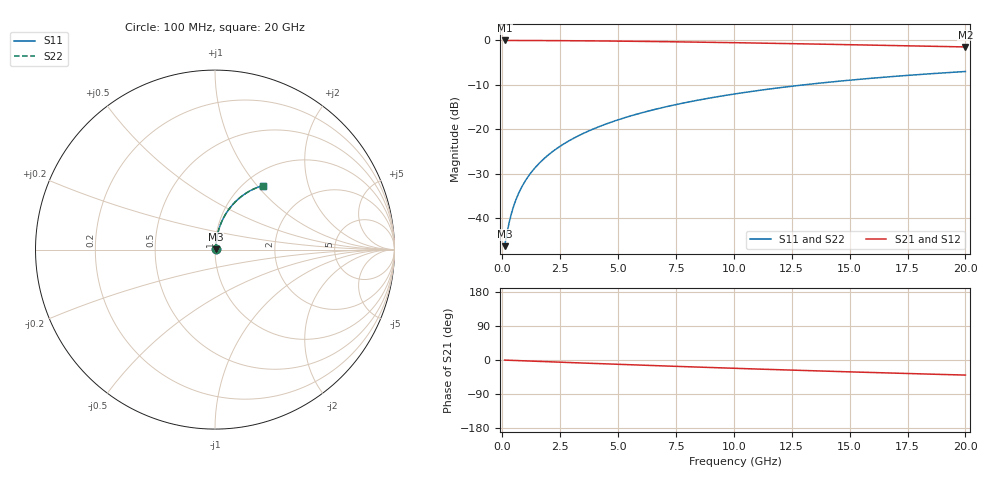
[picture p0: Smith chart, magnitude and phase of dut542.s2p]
! Touchstone file exported from HFSS 2024.1.0
!  File:  C:/UserFiles/LocalFiles/RDL_TSV_Batchsim/temp_RDL_top_542_1779680569.aedt
!  Generated:  11:45:13 AM May 25, 2026
!  Design:  RDL_top
!  Project:  temp_RDL_top_542_1779680569
!  Setup:  Setup1
!  Solution:  Sweep
! Variables:
!  dtsv = 10.80580581um
!  hbump = 3um
!  htsv = 90.43um
!  ldown = 100um
!  lrdl = 507.51um
!  p = 40
!  p1 = 48.67um
!  rhole = 1um
!  t = 450um
!  tdown = 3.915915916um
!  trdl = 3.57um
!  wdown = 15.38538539um
!  wrdl = 12.88um
# GHz S MA R 50.000000
! Terminal data exported
! Port[1] = Box2_T1
! Port[2] = Box2_T2
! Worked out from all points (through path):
!   200 points, 100 MHz to 20 GHz, reference 50 ohm
!   highest |S21| = -0.03 dB at 100 MHz (marker M1); lowest = -1.5 dB at 20 GHz (marker M2)
!   group delay of S21, straight-line fit = 5.52 ps
!   lowest |S11| = -46.4 dB at 100 MHz (marker M3), VSWR 1.01, Z = 50.4 + j0.269 ohm
!   |S11| at or under -10 dB: start of sweep to 13.08 GHz
!   |S22| runs from -46.4 to -7.0 dB; largest |S21 - S12| = 2.2e-15
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0.1  0.004805 33.7  0.996 -0.2  0.996 -0.2  0.004805 33.7
! Gamma 0 0 0 0
! Port Impedance 50 0 50 0
0.2  0.006694 52.5  0.9959 -0.5  0.9959 -0.5  0.006694 52.5
0.3  0.008965 62.1  0.9958 -0.7  0.9958 -0.7  0.008965 62.1
0.4  0.01137 67.6  0.9957 -0.9  0.9957 -0.9  0.01136 67.6
0.5  0.01381 71.1  0.9955 -1.2  0.9955 -1.2  0.01381 71.1
0.6  0.01628 73.4  0.9954 -1.4  0.9954 -1.4  0.01628 73.4
0.8  0.02126 76.5  0.9951 -1.9  0.9951 -1.9  0.02126 76.5
1.1  0.02877 78.9  0.9946 -2.6  0.9946 -2.6  0.02877 78.9
1.5  0.03885 80.4  0.9938 -3.5  0.9938 -3.5  0.03885 80.4
1.8  0.04643 81.0  0.9931 -4.2  0.9931 -4.2  0.04643 81.0
2.1  0.05402 81.2  0.9923 -4.9  0.9923 -4.9  0.05402 81.2
2.7  0.06922 81.1  0.9903 -6.2  0.9903 -6.2  0.06922 81.2
3.5  0.08947 80.5  0.987 -8.1  0.987 -8.1  0.08947 80.5
4.2  0.1071 79.7  0.9836 -9.6  0.9836 -9.6  0.1071 79.7
5  0.1272 78.6  0.979 -11.4  0.979 -11.4  0.1272 78.6
5.9  0.1496 77.2  0.9733 -13.4  0.9733 -13.4  0.1496 77.2
6.8  0.1718 75.7  0.9669 -15.3  0.9669 -15.3  0.1718 75.7
8.3  0.2082 73.2  0.9551 -18.4  0.9551 -18.4  0.2082 73.2
10.1  0.2504 70.0  0.9396 -22.1  0.9396 -22.1  0.2504 70.0
13.4  0.3229 64.2  0.9084 -28.4  0.9084 -28.4  0.323 64.2
16.7  0.3881 58.6  0.8753 -34.3  0.8753 -34.3  0.3881 58.6
20  0.4452 53.3  0.8419 -39.8  0.8419 -39.8  0.4453 53.3
